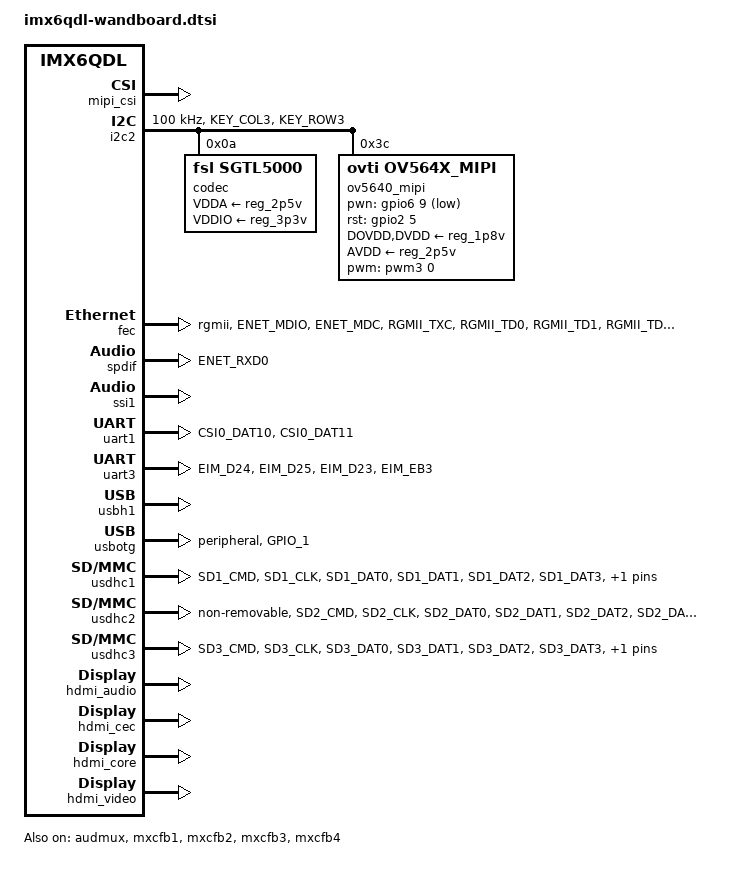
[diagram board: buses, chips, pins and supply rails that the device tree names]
/*
 * Copyright 2013 Freescale Semiconductor, Inc.
 *
 * Author: Fabio Estevam <fabio.estevam@freescale.com>
 *
 * This program is free software; you can redistribute it and/or modify
 * it under the terms of the GNU General Public License version 2 as
 * published by the Free Software Foundation.
 *
 */

/ {
	sound {
		compatible = "fsl,imx6-wandboard-sgtl5000",
			     "fsl,imx-audio-sgtl5000";
		model = "imx6-wandboard-sgtl5000";
		ssi-controller = <&ssi1>;
		audio-codec = <&codec>;
		audio-routing =
			"MIC_IN", "Mic Jack",
			"Mic Jack", "Mic Bias",
			"Headphone Jack", "HP_OUT";
		mux-int-port = <1>;
		mux-ext-port = <3>;
	};

	sound-spdif {
		compatible = "fsl,imx-audio-spdif";
		model = "imx-spdif";
		spdif-controller = <&spdif>;
		spdif-out;
	};

        v4l2_cap_2 { // mipi-csi2 camera
                compatible = "fsl,imx6q-v4l2-capture";
                ipu_id = <0>;
                csi_id = <1>;
                mclk_source = <0>;
                status = "okay";
        };

        v4l2_out {
                compatible = "fsl,mxc_v4l2_output";
                status = "okay";
        };
};

&mipi_csi {
        ipu_id = <0>;
        csi_id = <1>;
        v_channel = <0>;
        lanes = <2>;
        status = "okay";
};

&audmux {
	pinctrl-names = "default";
	pinctrl-0 = <&pinctrl_audmux>;
	status = "okay";
};

&i2c2 {
	clock-frequency = <100000>;
	pinctrl-names = "default";
	pinctrl-0 = <&pinctrl_i2c2>;
	status = "okay";

	codec: sgtl5000@0a {
		compatible = "fsl,sgtl5000";
		reg = <0x0a>;
		clocks = <&clks 201>;
		VDDA-supply = <&reg_2p5v>;
		VDDIO-supply = <&reg_3p3v>;
	};

        ov5640_mipi@3c {
                compatible = "ovti,ov564x_mipi";
                reg = <0x3c>;
                clocks = <&clks 147>;
                clock-names = "csi_mclk";
                DOVDD-supply = <&reg_1p8v>;
                AVDD-supply = <&reg_2p5v>;
                DVDD-supply = <&reg_1p8v>;
                pwn-gpios = <&gpio6 9 1>;
                rst-gpios = <&gpio2 5 0>;
                ipu_id = <0>;
                csi_id = <1>;
                mclk = <22000000>;
                mclk_source = <0>;
                pwms = <&pwm3 0 45>;
                status = "okay";
        };
};

&iomuxc {
	pinctrl-names = "default";
	pinctrl-0 = <&pinctrl_hog>;

	imx6qdl-wandboard {
		pinctrl_hog: hoggrp {
			fsl,pins = <
				MX6QDL_PAD_GPIO_0__CCM_CLKO1 	 0x130b0
				MX6QDL_PAD_GPIO_2__GPIO1_IO02	 0x80000000
				MX6QDL_PAD_EIM_DA9__GPIO3_IO09	 0x80000000
				MX6QDL_PAD_EIM_EB1__GPIO2_IO29   0x80000000 /* WL_REF_ON */
				MX6QDL_PAD_EIM_A25__GPIO5_IO02   0x80000000 /* WL_RST_N */
				MX6QDL_PAD_ENET_RXD1__GPIO1_IO26 0x80000000 /* WL_REG_ON */
				MX6QDL_PAD_ENET_TXD1__GPIO1_IO29 0x80000000 /* WL_HOST_WAKE */
				MX6QDL_PAD_ENET_TXD0__GPIO1_IO30 0x80000000 /* WL_WAKE */
				MX6QDL_PAD_EIM_D29__GPIO3_IO29   0x80000000
			>;
		};

		pinctrl_audmux: audmuxgrp {
			fsl,pins = <
				MX6QDL_PAD_CSI0_DAT7__AUD3_RXD		0x130b0
				MX6QDL_PAD_CSI0_DAT4__AUD3_TXC		0x130b0
				MX6QDL_PAD_CSI0_DAT5__AUD3_TXD		0x110b0
				MX6QDL_PAD_CSI0_DAT6__AUD3_TXFS		0x130b0
			>;
		};

		pinctrl_enet: enetgrp {
			fsl,pins = <
				MX6QDL_PAD_ENET_MDIO__ENET_MDIO		0x1b0b0
				MX6QDL_PAD_ENET_MDC__ENET_MDC		0x1b0b0
				MX6QDL_PAD_RGMII_TXC__RGMII_TXC		0x1b0b0
				MX6QDL_PAD_RGMII_TD0__RGMII_TD0		0x1b0b0
				MX6QDL_PAD_RGMII_TD1__RGMII_TD1		0x1b0b0
				MX6QDL_PAD_RGMII_TD2__RGMII_TD2		0x1b0b0
				MX6QDL_PAD_RGMII_TD3__RGMII_TD3		0x1b0b0
				MX6QDL_PAD_RGMII_TX_CTL__RGMII_TX_CTL	0x1b0b0
				MX6QDL_PAD_ENET_REF_CLK__ENET_TX_CLK	0x1b0b0
				MX6QDL_PAD_RGMII_RXC__RGMII_RXC		0x1b0b0
				MX6QDL_PAD_RGMII_RD0__RGMII_RD0		0x1b0b0
				MX6QDL_PAD_RGMII_RD1__RGMII_RD1		0x1b0b0
				MX6QDL_PAD_RGMII_RD2__RGMII_RD2		0x1b0b0
				MX6QDL_PAD_RGMII_RD3__RGMII_RD3		0x1b0b0
				MX6QDL_PAD_RGMII_RX_CTL__RGMII_RX_CTL	0x1b0b0
				MX6QDL_PAD_GPIO_16__ENET_REF_CLK	0x4001b0a8
			>;
		};

		pinctrl_i2c2: i2c2grp {
			fsl,pins = <
				MX6QDL_PAD_KEY_COL3__I2C2_SCL		0x4001b8b1
				MX6QDL_PAD_KEY_ROW3__I2C2_SDA		0x4001b8b1
			>;
		};

		pinctrl_spdif: spdifgrp {
			fsl,pins = <
				MX6QDL_PAD_ENET_RXD0__SPDIF_OUT		0x1b0b0
			>;
		};

		pinctrl_uart1: uart1grp {
			fsl,pins = <
				MX6QDL_PAD_CSI0_DAT10__UART1_TX_DATA	0x1b0b1
				MX6QDL_PAD_CSI0_DAT11__UART1_RX_DATA	0x1b0b1
			>;
		};

		pinctrl_uart3: uart3grp {
			fsl,pins = <
				MX6QDL_PAD_EIM_D24__UART3_TX_DATA	0x1b0b1
				MX6QDL_PAD_EIM_D25__UART3_RX_DATA	0x1b0b1
				MX6QDL_PAD_EIM_D23__UART3_CTS_B		0x1b0b1
				MX6QDL_PAD_EIM_EB3__UART3_RTS_B		0x1b0b1
			>;
		};

		pinctrl_usbotg: usbotggrp {
			fsl,pins = <
				MX6QDL_PAD_GPIO_1__USB_OTG_ID		0x17059
			>;
		};

		pinctrl_usdhc1: usdhc1grp {
			fsl,pins = <
				MX6QDL_PAD_SD1_CMD__SD1_CMD		0x17059
				MX6QDL_PAD_SD1_CLK__SD1_CLK		0x10059
				MX6QDL_PAD_SD1_DAT0__SD1_DATA0		0x17059
				MX6QDL_PAD_SD1_DAT1__SD1_DATA1		0x17059
				MX6QDL_PAD_SD1_DAT2__SD1_DATA2		0x17059
				MX6QDL_PAD_SD1_DAT3__SD1_DATA3		0x17059
			>;
		};

		pinctrl_usdhc2: usdhc2grp {
			fsl,pins = <
				MX6QDL_PAD_SD2_CMD__SD2_CMD		0x17059
				MX6QDL_PAD_SD2_CLK__SD2_CLK		0x10059
				MX6QDL_PAD_SD2_DAT0__SD2_DATA0		0x17059
				MX6QDL_PAD_SD2_DAT1__SD2_DATA1		0x17059
				MX6QDL_PAD_SD2_DAT2__SD2_DATA2		0x17059
				MX6QDL_PAD_SD2_DAT3__SD2_DATA3		0x17059
			>;
		};

		pinctrl_usdhc3: usdhc3grp {
			fsl,pins = <
				MX6QDL_PAD_SD3_CMD__SD3_CMD		0x17059
				MX6QDL_PAD_SD3_CLK__SD3_CLK		0x10059
				MX6QDL_PAD_SD3_DAT0__SD3_DATA0		0x17059
				MX6QDL_PAD_SD3_DAT1__SD3_DATA1		0x17059
				MX6QDL_PAD_SD3_DAT2__SD3_DATA2		0x17059
				MX6QDL_PAD_SD3_DAT3__SD3_DATA3		0x17059
			>;
		};
	};
};

&fec {
	pinctrl-names = "default";
	pinctrl-0 = <&pinctrl_enet>;
	phy-mode = "rgmii";
	phy-reset-gpios = <&gpio3 29 0>;
	status = "okay";
};

&spdif {
	pinctrl-names = "default";
	pinctrl-0 = <&pinctrl_spdif>;
	status = "okay";
};

&ssi1 {
	fsl,mode = "i2s-slave";
	status = "okay";
};

&uart1 {
	pinctrl-names = "default";
	pinctrl-0 = <&pinctrl_uart1>;
	status = "okay";
};

&uart3 {
	pinctrl-names = "default";
	pinctrl-0 = <&pinctrl_uart3>;
	fsl,uart-has-rtscts;
	status = "okay";
};

&usbh1 {
	status = "okay";
};

&usbotg {
	pinctrl-names = "default";
	pinctrl-0 = <&pinctrl_usbotg>;
	disable-over-current;
	dr_mode = "peripheral";
	status = "okay";
};

&usdhc1 {
	pinctrl-names = "default";
	pinctrl-0 = <&pinctrl_usdhc1>;
	cd-gpios = <&gpio1 2 0>;
	status = "okay";
};

&usdhc2 {
	pinctrl-names = "default";
	pinctrl-0 = <&pinctrl_usdhc2>;
	non-removable;
	status = "okay";
};

&usdhc3 {
	pinctrl-names = "default";
	pinctrl-0 = <&pinctrl_usdhc3>;
	cd-gpios = <&gpio3 9 0>;
	status = "okay";
};

&mxcfb1 {
        status = "okay";
};

&mxcfb2 {
        status = "okay";
};

&mxcfb3 {
        status = "okay";
};

&mxcfb4 {
        status = "okay";
};

&hdmi_audio {
        status = "okay";
};

&hdmi_cec {
        status = "okay";
};

&hdmi_core {
        status = "okay";
};

&hdmi_video {
        status = "okay";
};
